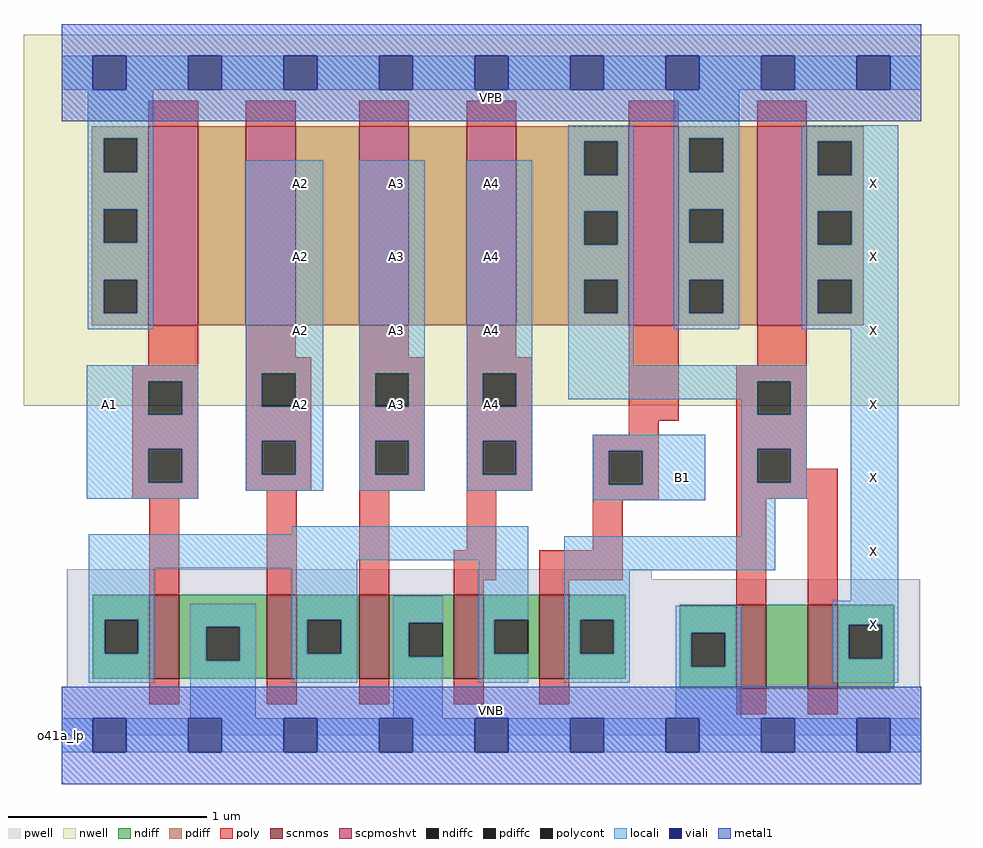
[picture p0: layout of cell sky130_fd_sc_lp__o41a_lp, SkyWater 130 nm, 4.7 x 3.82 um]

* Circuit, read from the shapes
.subckt sky130_fd_sc_lp__o41a_lp A1 A2 A3 A4 B1 VGND VNB VPB VPWR X
XM1 VGND A1 n1 VNB sky130_fd_pr__nfet_01v8 w=0.42 l=0.15
XM2 n1 A2 VGND VNB sky130_fd_pr__nfet_01v8 w=0.42 l=0.15
XM3 VGND A3 n1 VNB sky130_fd_pr__nfet_01v8 w=0.42 l=0.15
XM4 n1 A4 VGND VNB sky130_fd_pr__nfet_01v8 w=0.42 l=0.15
XM5 n2 B1 n1 VNB sky130_fd_pr__nfet_01v8 w=0.42 l=0.15
XM6 n3 n2 VGND VNB sky130_fd_pr__nfet_01v8 w=0.42 l=0.15
XM7 X n2 n3 VNB sky130_fd_pr__nfet_01v8 w=0.42 l=0.15
XM8 n4 A1 VPWR VPB sky130_fd_pr__pfet_01v8_hvt w=1 l=0.25
XM9 n5 A2 n4 VPB sky130_fd_pr__pfet_01v8_hvt w=1 l=0.25
XM10 n6 A3 n5 VPB sky130_fd_pr__pfet_01v8_hvt w=1 l=0.25
XM11 n2 A4 n6 VPB sky130_fd_pr__pfet_01v8_hvt w=1 l=0.25
XM12 VPWR B1 n2 VPB sky130_fd_pr__pfet_01v8_hvt w=1 l=0.25
XM13 X n2 VPWR VPB sky130_fd_pr__pfet_01v8_hvt w=1 l=0.25
.ends

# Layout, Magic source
magic
tech sky130A
magscale 1 2
<< nwell >>
rect -38 331 902 704
<< pwell >>
rect 5 157 593 167
rect 5 49 863 157
rect 0 0 864 49
<< scnmos >>
rect 88 57 118 141
rect 206 57 236 141
rect 299 57 329 141
rect 394 57 424 141
rect 480 57 510 141
rect 678 47 708 131
rect 750 47 780 131
<< scpmoshvt >>
rect 87 412 137 612
rect 185 412 235 612
rect 299 412 349 612
rect 407 412 457 612
rect 570 412 620 612
rect 699 412 749 612
<< ndiff >>
rect 31 116 88 141
rect 31 82 43 116
rect 77 82 88 116
rect 31 57 88 82
rect 118 109 206 141
rect 118 75 145 109
rect 179 75 206 109
rect 118 57 206 75
rect 236 116 299 141
rect 236 82 247 116
rect 281 82 299 116
rect 236 57 299 82
rect 329 113 394 141
rect 329 79 349 113
rect 383 79 394 113
rect 329 57 394 79
rect 424 116 480 141
rect 424 82 435 116
rect 469 82 480 116
rect 424 57 480 82
rect 510 116 567 141
rect 510 82 521 116
rect 555 82 567 116
rect 510 57 567 82
rect 621 103 678 131
rect 621 69 633 103
rect 667 69 678 103
rect 621 47 678 69
rect 708 47 750 131
rect 780 111 837 131
rect 780 77 791 111
rect 825 77 837 111
rect 780 47 837 77
<< pdiff >>
rect 30 600 87 612
rect 30 566 42 600
rect 76 566 87 600
rect 30 529 87 566
rect 30 495 42 529
rect 76 495 87 529
rect 30 458 87 495
rect 30 424 42 458
rect 76 424 87 458
rect 30 412 87 424
rect 137 412 185 612
rect 235 412 299 612
rect 349 412 407 612
rect 457 597 570 612
rect 457 563 525 597
rect 559 563 570 597
rect 457 527 570 563
rect 457 493 525 527
rect 559 493 570 527
rect 457 458 570 493
rect 457 424 525 458
rect 559 424 570 458
rect 457 412 570 424
rect 620 600 699 612
rect 620 566 631 600
rect 665 566 699 600
rect 620 529 699 566
rect 620 495 631 529
rect 665 495 699 529
rect 620 458 699 495
rect 620 424 631 458
rect 665 424 699 458
rect 620 412 699 424
rect 749 597 806 612
rect 749 563 760 597
rect 794 563 806 597
rect 749 527 806 563
rect 749 493 760 527
rect 794 493 806 527
rect 749 458 806 493
rect 749 424 760 458
rect 794 424 806 458
rect 749 412 806 424
<< ndiffc >>
rect 43 82 77 116
rect 145 75 179 109
rect 247 82 281 116
rect 349 79 383 113
rect 435 82 469 116
rect 521 82 555 116
rect 633 69 667 103
rect 791 77 825 111
<< pdiffc >>
rect 42 566 76 600
rect 42 495 76 529
rect 42 424 76 458
rect 525 563 559 597
rect 525 493 559 527
rect 525 424 559 458
rect 631 566 665 600
rect 631 495 665 529
rect 631 424 665 458
rect 760 563 794 597
rect 760 493 794 527
rect 760 424 794 458
<< poly >>
rect 87 612 137 638
rect 185 612 235 638
rect 299 612 349 638
rect 407 612 457 638
rect 570 612 620 638
rect 699 612 749 638
rect 87 372 137 412
rect 71 356 137 372
rect 71 322 87 356
rect 121 322 137 356
rect 71 288 137 322
rect 71 254 87 288
rect 121 254 137 288
rect 71 238 137 254
rect 185 380 235 412
rect 299 380 349 412
rect 407 380 457 412
rect 185 364 251 380
rect 185 330 201 364
rect 235 330 251 364
rect 185 296 251 330
rect 185 262 201 296
rect 235 262 251 296
rect 185 246 251 262
rect 299 364 365 380
rect 299 330 315 364
rect 349 330 365 364
rect 299 296 365 330
rect 299 262 315 296
rect 349 262 365 296
rect 299 246 365 262
rect 407 364 473 380
rect 407 330 423 364
rect 457 330 473 364
rect 407 296 473 330
rect 570 316 620 412
rect 699 372 749 412
rect 678 356 749 372
rect 678 322 699 356
rect 733 322 749 356
rect 570 302 600 316
rect 407 262 423 296
rect 457 262 473 296
rect 407 246 473 262
rect 534 286 600 302
rect 534 252 550 286
rect 584 252 600 286
rect 88 141 118 238
rect 206 141 236 246
rect 299 141 329 246
rect 407 186 437 246
rect 534 236 600 252
rect 678 288 749 322
rect 678 254 699 288
rect 733 268 749 288
rect 733 254 780 268
rect 678 238 780 254
rect 534 186 564 236
rect 394 156 437 186
rect 480 156 564 186
rect 394 141 424 156
rect 480 141 510 156
rect 678 131 708 238
rect 750 131 780 238
rect 88 31 118 57
rect 206 31 236 57
rect 299 31 329 57
rect 394 31 424 57
rect 480 31 510 57
rect 678 21 708 47
rect 750 21 780 47
<< polycont >>
rect 87 322 121 356
rect 87 254 121 288
rect 201 330 235 364
rect 201 262 235 296
rect 315 330 349 364
rect 315 262 349 296
rect 423 330 457 364
rect 699 322 733 356
rect 423 262 457 296
rect 550 252 584 286
rect 699 254 733 288
<< locali >>
rect 0 649 31 683
rect 65 649 127 683
rect 161 649 223 683
rect 257 649 319 683
rect 353 649 415 683
rect 449 649 511 683
rect 545 649 607 683
rect 641 649 703 683
rect 737 649 799 683
rect 833 649 864 683
rect 26 600 92 649
rect 26 566 42 600
rect 76 566 92 600
rect 509 597 575 613
rect 26 529 92 566
rect 26 495 42 529
rect 76 495 92 529
rect 26 458 92 495
rect 26 424 42 458
rect 76 424 92 458
rect 26 408 92 424
rect 25 356 137 372
rect 25 322 87 356
rect 121 322 137 356
rect 25 288 137 322
rect 25 254 87 288
rect 121 254 137 288
rect 25 238 137 254
rect 185 364 263 578
rect 185 330 201 364
rect 235 330 263 364
rect 185 296 263 330
rect 185 262 201 296
rect 235 262 263 296
rect 185 246 263 262
rect 299 364 365 578
rect 299 330 315 364
rect 349 330 365 364
rect 299 296 365 330
rect 299 262 315 296
rect 349 262 365 296
rect 299 246 365 262
rect 407 364 473 578
rect 407 330 423 364
rect 457 330 473 364
rect 509 563 525 597
rect 559 563 575 597
rect 509 527 575 563
rect 509 493 525 527
rect 559 493 575 527
rect 509 458 575 493
rect 509 424 525 458
rect 559 424 575 458
rect 509 372 575 424
rect 615 600 681 649
rect 615 566 631 600
rect 665 566 681 600
rect 615 529 681 566
rect 615 495 631 529
rect 665 495 681 529
rect 615 458 681 495
rect 615 424 631 458
rect 665 424 681 458
rect 615 408 681 424
rect 744 597 841 613
rect 744 563 760 597
rect 794 563 841 597
rect 744 527 841 563
rect 744 493 760 527
rect 794 493 841 527
rect 744 458 841 493
rect 744 424 760 458
rect 794 424 841 458
rect 744 408 841 424
rect 509 356 749 372
rect 509 338 699 356
rect 407 296 473 330
rect 683 322 699 338
rect 733 322 749 356
rect 407 262 423 296
rect 457 262 473 296
rect 407 246 473 262
rect 534 286 647 302
rect 534 252 550 286
rect 584 252 647 286
rect 534 236 647 252
rect 683 288 749 322
rect 683 254 699 288
rect 733 254 749 288
rect 683 238 749 254
rect 231 202 469 210
rect 27 176 469 202
rect 683 200 717 238
rect 27 168 297 176
rect 27 116 93 168
rect 27 82 43 116
rect 77 82 93 116
rect 27 53 93 82
rect 129 109 195 132
rect 129 75 145 109
rect 179 75 195 109
rect 129 17 195 75
rect 231 116 297 168
rect 231 82 247 116
rect 281 82 297 116
rect 231 53 297 82
rect 333 113 383 140
rect 333 79 349 113
rect 333 17 383 79
rect 419 116 469 176
rect 419 82 435 116
rect 419 53 469 82
rect 505 166 717 200
rect 505 116 571 166
rect 793 135 841 408
rect 505 82 521 116
rect 555 82 571 116
rect 505 53 571 82
rect 617 103 683 130
rect 617 69 633 103
rect 667 69 683 103
rect 617 17 683 69
rect 775 111 841 135
rect 775 77 791 111
rect 825 77 841 111
rect 775 53 841 77
rect 0 -17 31 17
rect 65 -17 127 17
rect 161 -17 223 17
rect 257 -17 319 17
rect 353 -17 415 17
rect 449 -17 511 17
rect 545 -17 607 17
rect 641 -17 703 17
rect 737 -17 799 17
rect 833 -17 864 17
<< viali >>
rect 31 649 65 683
rect 127 649 161 683
rect 223 649 257 683
rect 319 649 353 683
rect 415 649 449 683
rect 511 649 545 683
rect 607 649 641 683
rect 703 649 737 683
rect 799 649 833 683
rect 31 -17 65 17
rect 127 -17 161 17
rect 223 -17 257 17
rect 319 -17 353 17
rect 415 -17 449 17
rect 511 -17 545 17
rect 607 -17 641 17
rect 703 -17 737 17
rect 799 -17 833 17
<< metal1 >>
rect 0 683 864 715
rect 0 649 31 683
rect 65 649 127 683
rect 161 649 223 683
rect 257 649 319 683
rect 353 649 415 683
rect 449 649 511 683
rect 545 649 607 683
rect 641 649 703 683
rect 737 649 799 683
rect 833 649 864 683
rect 0 617 864 649
rect 0 17 864 49
rect 0 -17 31 17
rect 65 -17 127 17
rect 161 -17 223 17
rect 257 -17 319 17
rect 353 -17 415 17
rect 449 -17 511 17
rect 545 -17 607 17
rect 641 -17 703 17
rect 737 -17 799 17
rect 833 -17 864 17
rect 0 -49 864 -17
<< labels >>
flabel pwell s 0 0 864 49 0 FreeSans 200 0 0 0 VNB
port 7 nsew ground bidirectional
flabel nwell s 0 617 864 666 0 FreeSans 200 0 0 0 VPB
port 8 nsew power bidirectional
rlabel comment s 0 0 0 0 4 o41a_lp
flabel metal1 s 0 617 864 666 0 FreeSans 340 0 0 0 VPWR
port 9 nsew power bidirectional
flabel metal1 s 0 0 864 49 0 FreeSans 340 0 0 0 VGND
port 6 nsew ground bidirectional
flabel locali s 607 242 641 276 0 FreeSans 340 0 0 0 B1
port 5 nsew signal input
flabel locali s 415 316 449 350 0 FreeSans 340 0 0 0 A4
port 4 nsew signal input
flabel locali s 415 390 449 424 0 FreeSans 340 0 0 0 A4
port 4 nsew signal input
flabel locali s 415 464 449 498 0 FreeSans 340 0 0 0 A4
port 4 nsew signal input
flabel locali s 415 538 449 572 0 FreeSans 340 0 0 0 A4
port 4 nsew signal input
flabel locali s 319 316 353 350 0 FreeSans 340 0 0 0 A3
port 3 nsew signal input
flabel locali s 319 390 353 424 0 FreeSans 340 0 0 0 A3
port 3 nsew signal input
flabel locali s 319 464 353 498 0 FreeSans 340 0 0 0 A3
port 3 nsew signal input
flabel locali s 319 538 353 572 0 FreeSans 340 0 0 0 A3
port 3 nsew signal input
flabel locali s 223 316 257 350 0 FreeSans 340 0 0 0 A2
port 2 nsew signal input
flabel locali s 223 390 257 424 0 FreeSans 340 0 0 0 A2
port 2 nsew signal input
flabel locali s 223 464 257 498 0 FreeSans 340 0 0 0 A2
port 2 nsew signal input
flabel locali s 223 538 257 572 0 FreeSans 340 0 0 0 A2
port 2 nsew signal input
flabel locali s 31 316 65 350 0 FreeSans 340 0 0 0 A1
port 1 nsew signal input
flabel locali s 799 94 833 128 0 FreeSans 340 0 0 0 X
port 10 nsew signal output
flabel locali s 799 168 833 202 0 FreeSans 340 0 0 0 X
port 10 nsew signal output
flabel locali s 799 242 833 276 0 FreeSans 340 0 0 0 X
port 10 nsew signal output
flabel locali s 799 316 833 350 0 FreeSans 340 0 0 0 X
port 10 nsew signal output
flabel locali s 799 390 833 424 0 FreeSans 340 0 0 0 X
port 10 nsew signal output
flabel locali s 799 464 833 498 0 FreeSans 340 0 0 0 X
port 10 nsew signal output
flabel locali s 799 538 833 572 0 FreeSans 340 0 0 0 X
port 10 nsew signal output
<< properties >>
string LEFsite unit
string LEFclass CORE
string FIXED_BBOX 0 0 864 666
string GDS_FILE $PDKPATH/libs.ref/sky130_fd_sc_lp/gds/sky130_fd_sc_lp.gds
string LEFsymmetry X Y R90
string GDS_END 501720
string GDS_START 492628
<< end >>
